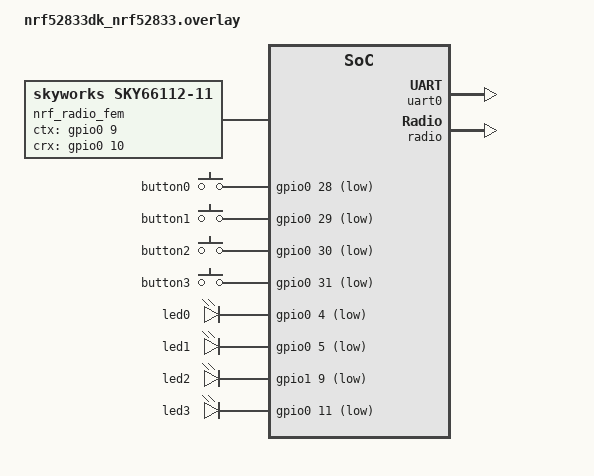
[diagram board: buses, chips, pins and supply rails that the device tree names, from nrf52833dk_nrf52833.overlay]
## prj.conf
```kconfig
CONFIG_GPIO=y
CONFIG_SERIAL=y
CONFIG_UART_ASYNC_API=y
CONFIG_BT=y
CONFIG_BT_PERIPHERAL=y
CONFIG_BT_DEVICE_NAME="Minh_Test"
# CONFIG_BT_LBS=y
# CONFIG_BT_LBS_POLL_BUTTON=y
CONFIG_SYSTEM_WORKQUEUE_STACK_SIZE=2048
CONFIG_MAIN_STACK_SIZE=2048
CONFIG_BT_CTLR_TX_PWR_PLUS_8=y
CONFIG_MPSL=y
CONFIG_MPSL_FEM=y
CONFIG_MPSL_FEM_SIMPLE_GPIO=y
# CONFIG_MPSL_FEM_ONLY=y

# Enable Security Management Protocol
CONFIG_BT_SMP=y
# STEP 1.1 Add setting configurations to allow flash handling
CONFIG_BT_SETTINGS=y
CONFIG_FLASH=y
CONFIG_FLASH_PAGE_LAYOUT=y
CONFIG_FLASH_MAP=y
CONFIG_NVS=y
CONFIG_SETTINGS=y
# STEP 3.1 Enable support for Accept List filter and Privacy Features
CONFIG_BT_FILTER_ACCEPT_LIST=y
CONFIG_BT_PRIVACY=y
# STEP 4.1 Increase the number of maximum paired devices
# CONFIG_BT_MAX_PAIRED=5
# nus service 
CONFIG_BT_NUS=y
```

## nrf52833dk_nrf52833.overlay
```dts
// To get started, press Ctrl+Space to bring up the completion menu and view the available nodes.

// You can also use the buttons in the sidebar to perform actions on nodes.
// Actions currently available include:

// * Enabling / disabling the node
// * Adding the bus to a bus
// * Removing the node
// * Connecting ADC channels

// For more help, browse the DeviceTree documentation at https://docs.zephyrproject.org/latest/guides/dts/index.html
// You can also visit the nRF DeviceTree extension documentation at https://nrfconnect.github.io/vscode-nrf-connect/devicetree/nrfdevicetree.html

&button0 {
    gpios = <&gpio0 28 (GPIO_ACTIVE_LOW | GPIO_PULL_UP)>;
};

&button1 {
    gpios = <&gpio0 29 (GPIO_ACTIVE_LOW | GPIO_PULL_UP)>;
};

&button2 {
    gpios = <&gpio0 30 (GPIO_ACTIVE_LOW | GPIO_PULL_UP)>;
};

&button3 {
    gpios = <&gpio0 31 (GPIO_ACTIVE_LOW | GPIO_PULL_UP)>;
};

&led0 {
    gpios = <&gpio0 4 (GPIO_ACTIVE_LOW)>;
};

&led1 {
    gpios = <&gpio0 5 (GPIO_ACTIVE_LOW)>;
};

&led2 {
    gpios = <&gpio1 9 (GPIO_ACTIVE_LOW)>;
};

&led3 {
    gpios = <&gpio0 11 (GPIO_ACTIVE_LOW)>;
};

&i2c0 {
    status = "disabled";
};

&spi3 {
    status = "disabled";
};

&spi1 {
    status = "disabled";
};

&uart0 {
    status = "okay";
    hw-flow-control;
};

&uart0_default {
    group1 {
        psels = <NRF_PSEL(UART_TX, 0, 2)>;
    };

    group2 {
        psels = <NRF_PSEL(UART_RX, 0, 3)>;
    };
};

&radio {
    /delete-property/ ble-coded-phy-supported;
    tx-high-power-supported;
    ble-coded-phy-supported;
    ble-2mbps-supported;
    zephyr,pm-device-runtime-auto;
};
/ {
    nrf_radio_fem: name_of_fem_node {
       compatible = "skyworks,sky66112-11", "generic-fem-two-ctrl-pins";
       ctx-gpios = <&gpio0 9 GPIO_ACTIVE_HIGH>;
       crx-gpios = <&gpio0 10 GPIO_ACTIVE_HIGH>;
    };
 };
```

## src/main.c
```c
/*
 * Copyright (c) 2016 Intel Corporation
 *
 * SPDX-License-Identifier: Apache-2.0
 */

#include <zephyr/types.h>
#include <stddef.h>
#include <errno.h>
#include <zephyr/kernel.h>
#include <zephyr/sys/printk.h>

#include <zephyr/drivers/gpio.h>
#include <zephyr/drivers/uart.h>

#include <zephyr/bluetooth/bluetooth.h>
#include <zephyr/bluetooth/gap.h>
#include <zephyr/bluetooth/uuid.h>
#include <zephyr/bluetooth/addr.h>
#include <zephyr/bluetooth/conn.h>
#include <zephyr/bluetooth/gatt.h>
// #include <bluetooth/services/lbs.h>

#include <bluetooth/services/nus.h>
/* STEP 1.2 - Add the header file for the Settings module */
#include <zephyr/settings/settings.h>

/* 1000 msec = 1 sec */
#define SLEEP_TIME_MS   100

/* The devicetree node identifier for the "ledx" alias. */
#define LED0_NODE DT_ALIAS(led0)
#define LED1_NODE DT_ALIAS(led1)
#define LED2_NODE DT_ALIAS(led2)
#define LED3_NODE DT_ALIAS(led3)

#define SW0_NODE DT_ALIAS(sw0)
#define SW1_NODE DT_ALIAS(sw1)
#define SW2_NODE DT_ALIAS(sw2)
#define SW3_NODE DT_ALIAS(sw3)

//define for uart
#define RECEIVE_BUFF_SIZE 10
#define RECEIVE_TIMEOUT 100

#define CMD_TEST		'A'

//BLE
#define DEVICE_NAME CONFIG_BT_DEVICE_NAME
#define DEVICE_NAME_LEN (sizeof(DEVICE_NAME) - 1)
#define COMPANY_ID_CODE            0x0059

typedef struct adv_mfg_data {
	uint16_t company_code;	    /* Company Identifier Code. */
	uint16_t number_press;      /* Number of times Button 1 is pressed*/
} adv_mfg_data_type;
static adv_mfg_data_type adv_mfg_data = {COMPANY_ID_CODE,0x00};

/*********************/

/*
 * A build error on this line means your board is unsupported.
 * See the sample documentation for information on how to fix this.
 */
static const struct gpio_dt_spec led0_t = GPIO_DT_SPEC_GET(LED0_NODE, gpios);
static const struct gpio_dt_spec led1_t = GPIO_DT_SPEC_GET(LED1_NODE, gpios);
static const struct gpio_dt_spec led2_t = GPIO_DT_SPEC_GET(LED2_NODE, gpios);
static const struct gpio_dt_spec led3_t = GPIO_DT_SPEC_GET(LED3_NODE, gpios);

static const struct gpio_dt_spec sw0_t = GPIO_DT_SPEC_GET(SW0_NODE, gpios);
static const struct gpio_dt_spec sw1_t = GPIO_DT_SPEC_GET(SW1_NODE, gpios);
static const struct gpio_dt_spec sw2_t = GPIO_DT_SPEC_GET(SW2_NODE, gpios);
static const struct gpio_dt_spec sw3_t = GPIO_DT_SPEC_GET(SW3_NODE, gpios);

static struct gpio_callback sw0_cb_data;
static struct gpio_callback sw1_cb_data;
static struct gpio_callback sw2_cb_data;
static struct gpio_callback sw3_cb_data;
static void uart_cb(const struct device *dev, struct uart_event *evt, void *user_data);

const struct device *uart= DEVICE_DT_GET(DT_NODELABEL(uart0));
static uint8_t tx_buf[] =   {"Press 1-3 on your keyboard to toggle LEDS 1-3 on your development kit\n\r"};
static uint8_t rx_buf[RECEIVE_BUFF_SIZE] = {0};

static const struct bt_data ad[] = {
	BT_DATA_BYTES(BT_DATA_FLAGS, (BT_LE_AD_GENERAL | BT_LE_AD_NO_BREDR)),
	BT_DATA(BT_DATA_NAME_COMPLETE, DEVICE_NAME, DEVICE_NAME_LEN),
	BT_DATA(BT_DATA_MANUFACTURER_DATA,(unsigned char *)&adv_mfg_data, sizeof(adv_mfg_data)),
	
};
// static unsigned char url_data[] = { 0x17, '/', '/', 'a', 'c', 'a', 'd', 'e', 'm',
// 				    'y',  '.', 'n', 'o', 'r', 'd', 'i', 'c', 's',
// 				    'e',  'm', 'i', '.', 'c', 'o', 'm' };

static const struct bt_data sd[] = {
		//BT_DATA(BT_DATA_URI, url_data, sizeof(url_data)),
		// BT_DATA_BYTES(BT_DATA_UUID128_ALL, BT_UUID_LBS_VAL),
		BT_DATA_BYTES(BT_DATA_UUID128_ALL, BT_UUID_NUS_VAL),
};

static struct bt_le_adv_param *adv_param =
	BT_LE_ADV_PARAM(BT_LE_ADV_OPT_CONNECTABLE | BT_LE_ADV_OPT_USE_IDENTITY,
	BT_GAP_ADV_FAST_INT_MIN_1,
	BT_GAP_ADV_FAST_INT_MAX_1,
	NULL);

static int LED_STATUS[4] = {1,1,1,1};

struct bt_conn *my_conn = NULL;//connection

void led_blinky()
{
	uint8_t loop;
	printk("Led blinky!!!!!!!!!!!!!\r\n");
	for(loop=0;loop<5;loop++)
	{
		gpio_pin_set_dt(&led0_t, 1);
		gpio_pin_set_dt(&led1_t, 1);
		gpio_pin_set_dt(&led2_t, 1);
		gpio_pin_set_dt(&led3_t, 1);
		k_msleep(300);
		gpio_pin_set_dt(&led0_t, 0);
		gpio_pin_set_dt(&led1_t, 0);
		gpio_pin_set_dt(&led2_t, 0);
		gpio_pin_set_dt(&led3_t, 0);
		k_msleep(300);

	}
}

static void bt_receive_cb(struct bt_conn *conn, const uint8_t *const data, uint16_t len)
{
	int err;int i;
	char addr[BT_ADDR_LE_STR_LEN] = { 0 };
	uint8_t data_decode[32]={NULL,};

	bt_addr_le_to_str(bt_conn_get_dst(conn), addr, ARRAY_SIZE(addr));
	gpio_pin_toggle_dt(&led2_t);
	printk("Received data from: %s", addr);
	
	for(i=0;i<len;i++)
	{
		data_decode[i] = *(data+i);
	}
	printk(data_decode);
	if(data_decode[0] == 'A')
		{
			led_blinky();
		}

}

static struct bt_nus_cb nus_cb = {
	.received = bt_receive_cb,
};

void on_connected(struct bt_conn *conn, uint8_t err)
{
	if (err) {
		printk("ble err!!!!!!");
		return;
	}
	printk("BLE connected");
	my_conn = bt_conn_ref(conn);

	/* STEP 3.2  Turn the connection status LED on */
	gpio_pin_toggle_dt(&led0_t);
}

void on_disconnected(struct bt_conn *conn, uint8_t reason)
{
	printk("BLE Disconnect!!!!\r\n");
	bt_conn_unref(my_conn);

	/* STEP 3.3  Turn the connection status LED off */
	gpio_pin_toggle_dt(&led1_t);
}
static void on_security_changed(struct bt_conn *conn, bt_security_t level, enum bt_security_err err)
{
	char addr[BT_ADDR_LE_STR_LEN];

	bt_addr_le_to_str(bt_conn_get_dst(conn), addr, sizeof(addr));

	if (!err) {
		printk("Security changed: %s level %u\n", addr, level);
	} else {
		printk("Security failed: %s level %u err %d\n", addr, level, err);
	}
}

struct bt_conn_cb connection_callbacks = {
	.connected = on_connected,
	.disconnected = on_disconnected,
	.security_changed = on_security_changed,
};

void sw0_isr(const struct device *dev, struct gpio_callback *cb, gpio_port_pins_t pins);
void sw1_isr(const struct device *dev, struct gpio_callback *cb, gpio_port_pins_t pins);
void sw2_isr(const struct device *dev, struct gpio_callback *cb, gpio_port_pins_t pins);
void sw3_isr(const struct device *dev, struct gpio_callback *cb, gpio_port_pins_t pins);


/*************************************************/
static void auth_passkey_display(struct bt_conn *conn, unsigned int passkey)
{
	char addr[BT_ADDR_LE_STR_LEN];

	bt_addr_le_to_str(bt_conn_get_dst(conn), addr, sizeof(addr));

	printk("Passkey for %s: %06u\n", addr, passkey);
}

static void auth_cancel(struct bt_conn *conn)
{
	char addr[BT_ADDR_LE_STR_LEN];

	bt_addr_le_to_str(bt_conn_get_dst(conn), addr, sizeof(addr));

	printk("Pairing cancelled: %s\n", addr);
}
static struct bt_conn_auth_cb conn_auth_callbacks = {
	.passkey_display = auth_passkey_display,
	.cancel = auth_cancel,
};
/********************************************************/

int main(void)
{
	int ret,err;
	bt_addr_le_t addr;

	/* GPIO configure for led and button */ 
	ret = gpio_pin_configure_dt(&led0_t, GPIO_OUTPUT_ACTIVE);
	ret = gpio_pin_configure_dt(&led1_t, GPIO_OUTPUT_ACTIVE);
	ret = gpio_pin_configure_dt(&led2_t, GPIO_OUTPUT_ACTIVE);
	ret = gpio_pin_configure_dt(&led3_t, GPIO_OUTPUT_ACTIVE);

	ret = gpio_pin_configure_dt(&sw0_t, GPIO_INPUT);
	ret = gpio_pin_configure_dt(&sw1_t, GPIO_INPUT);
	ret = gpio_pin_configure_dt(&sw2_t, GPIO_INPUT);
	ret = gpio_pin_configure_dt(&sw3_t, GPIO_INPUT);

	gpio_pin_interrupt_configure_dt(&sw0_t, GPIO_INT_EDGE_TO_ACTIVE);
	gpio_pin_interrupt_configure_dt(&sw1_t, GPIO_INT_EDGE_TO_ACTIVE);
	gpio_pin_interrupt_configure_dt(&sw2_t, GPIO_INT_EDGE_TO_ACTIVE);
	gpio_pin_interrupt_configure_dt(&sw3_t, GPIO_INT_EDGE_TO_ACTIVE);
	/* ***************************************************************** */

	/* UART set callback function*/
	uart_callback_set(uart, uart_cb, NULL);

	/* Set callback function for button*/
	gpio_init_callback(&sw0_cb_data, sw0_isr, BIT(sw0_t.pin));
	gpio_init_callback(&sw1_cb_data, sw1_isr, BIT(sw1_t.pin));
	gpio_init_callback(&sw2_cb_data, sw2_isr, BIT(sw2_t.pin));
	gpio_init_callback(&sw3_cb_data, sw3_isr, BIT(sw3_t.pin));

	gpio_add_callback(sw0_t.port, &sw0_cb_data);
	gpio_add_callback(sw1_t.port, &sw1_cb_data);
	gpio_add_callback(sw2_t.port, &sw2_cb_data);
	gpio_add_callback(sw3_t.port, &sw3_cb_data);

	/* uart_tx and set uart_rx */
	uart_rx_enable(uart ,rx_buf,sizeof(rx_buf),RECEIVE_TIMEOUT);
	printk(tx_buf);


	/* BLE */
	ret = bt_addr_le_from_str("FF:EE:DD:CC:BB:AA", "random", &addr);

	err = bt_conn_auth_cb_register(&conn_auth_callbacks);
	if (err) {
		printk("Failed to register authorization callbacks.\n");
		return;
	}

	bt_conn_cb_register(&connection_callbacks);

	ret = bt_nus_init(&nus_cb);
	if (ret) {
		printk("BLE ERR !!!!!");
		return;
	}
	
	if(ret)
	{
		printk("BLE ERR !!!!!");
	}

	bt_id_create(&addr, NULL);

	ret = bt_enable(NULL);
	if (ret) {
		printk("BLE ERR !!!!!");
		return;
	}
	settings_load();
	
	printk("BLE init done !!!!!");

	ret = bt_le_adv_start(adv_param, ad, ARRAY_SIZE(ad), sd, ARRAY_SIZE(sd));
	if (ret) {
		printk("BLE ERR !!!!!");
		return;
	}
	

	return 0;
}

void led_control(int led_stt)
{
	if(LED_STATUS[led_stt]==1)
	{
		LED_STATUS[led_stt]=0;
	}
	else
		LED_STATUS[led_stt]=1;

	switch (led_stt)
	{
	case 0:
		gpio_pin_set_dt(&led0_t,LED_STATUS[led_stt]);
		break;
	case 1:
		gpio_pin_set_dt(&led1_t,LED_STATUS[led_stt]);
		break;
	case 2:
		gpio_pin_set_dt(&led2_t,LED_STATUS[led_stt]);
		break;
	case 3:
		gpio_pin_set_dt(&led3_t,LED_STATUS[led_stt]);
		break;
	
	default:
		break;
	}
}
/* callback functions for BUTTON and UART*/
void sw0_isr(const struct device *dev, struct gpio_callback *cb, uint32_t pins)
{
		uint8_t nus_tx[5]={'s','w','0',':','1'};
		int value;
        led_control(0);
		if(LED_STATUS[0])
			nus_tx[4] = '1';
		else
			nus_tx[4]='0';
		bt_nus_send(my_conn,nus_tx,5);
}

void sw1_isr(const struct device *dev, struct gpio_callback *cb, uint32_t pins)
{
		uint8_t nus_tx[5]={'s','w','1',':','1'};
		int value;
        led_control(1);
		if(LED_STATUS[1])
			nus_tx[4] = '1';
		else
			nus_tx[4]='0';
		bt_nus_send(my_conn,nus_tx,5);
}

void sw2_isr(const struct device *dev, struct gpio_callback *cb, uint32_t pins)
{
		uint8_t nus_tx[5]={'s','w','2',':','1'};
		int value;
        led_control(2);
		if(LED_STATUS[2])
			nus_tx[4] = '1';
		else
			nus_tx[4]='0';
		bt_nus_send(my_conn,nus_tx,5);
}

void sw3_isr(const struct device *dev, struct gpio_callback *cb, uint32_t pins)
{
		uint8_t nus_tx[5]={'s','w','3',':','1'};
		int value;
        led_control(3);
		if(LED_STATUS[3])
			nus_tx[4] = '1';
		else
			nus_tx[4]='0';
		bt_nus_send(my_conn,nus_tx,5);
}

static void uart_cb(const struct device *dev, struct uart_event *evt, void *user_data)
{
	switch (evt->type) {
	case UART_RX_RDY:
	if((evt->data.rx.len) == 1){
		// if(evt->data.rx.buf[evt->data.rx.offset] == '1')
		// {	
		// 	gpio_pin_toggle_dt(&led0_t);
		// }
		// else if (evt->data.rx.buf[evt->data.rx.offset] == '2')
		// 	gpio_pin_toggle_dt(&led1_t);
		// else if (evt->data.rx.buf[evt->data.rx.offset] == '3')
		// 	gpio_pin_toggle_dt(&led2_t);
		// else if (evt->data.rx.buf[evt->data.rx.offset] == '4')
		// 	gpio_pin_toggle_dt(&led3_t);
		}
	break;
	case UART_RX_DISABLED:
		uart_rx_enable(dev ,rx_buf,sizeof rx_buf,RECEIVE_TIMEOUT);
		break;
	case UART_TX_DONE:
		break;
	default:
		break;
	}
}
```
